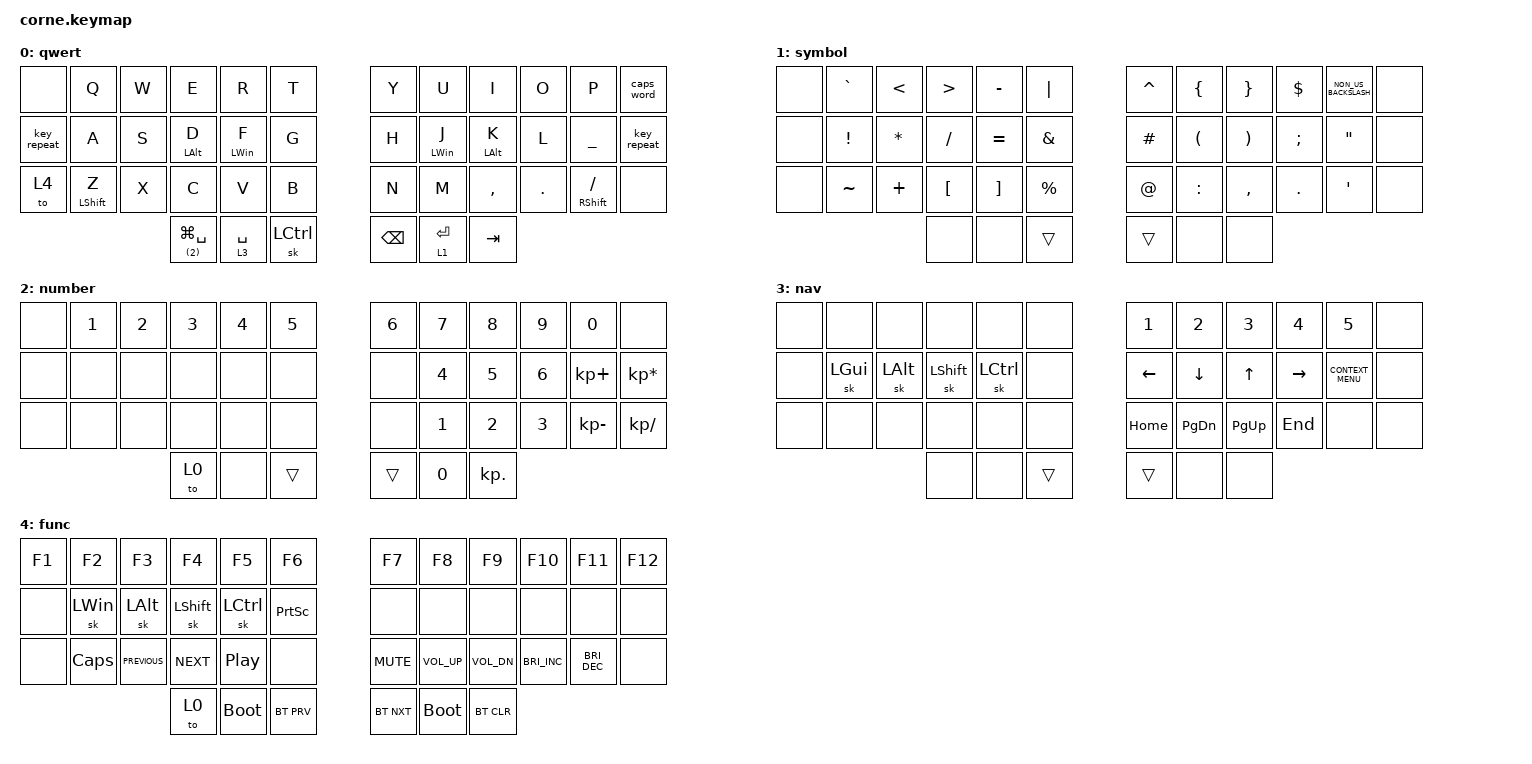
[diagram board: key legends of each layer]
/*
 * Copyright (c) 2020 The ZMK Contributors
 *
 * SPDX-License-Identifier: MIT
 */

#include <behaviors.dtsi>
#include <dt-bindings/zmk/bt.h>
#include <dt-bindings/zmk/keys.h>

&mt { flavor = "tap-preferred"; };

/ {
    combos {
        compatible = "zmk,combos";

        combo_esc {
            bindings = <&kp ESCAPE>;
            key-positions = <26 27>;
        };

        combo_ent {
            bindings = <&kp ENTER>;
            key-positions = <32 33>;
        };

        to_l1 {
            bindings = <&to 0>;
            key-positions = <29 30>;
        };
    };

    behaviors {
        hm: homerow_mods {
            compatible = "zmk,behavior-hold-tap";
            label = "HOMEROW_MODS";
            bindings = <&kp>, <&kp>;

            #binding-cells = <2>;
            tapping-term-ms = <200>;
            quick-tap-ms = <0>;
            flavor = "tap-preferred";
        };

        hs: homerow_shifts {
            compatible = "zmk,behavior-hold-tap";
            label = "HOMEROW_SHIFTS";
            bindings = <&kp>, <&kp>;

            #binding-cells = <2>;
            tapping-term-ms = <150>;
            quick-tap-ms = <0>;
            flavor = "balanced";
        };
    };

    keymap {
        compatible = "zmk,keymap";

        qwerty_layer {
            // -----------------------------------------------------------------------------------------
            // |  TAB |  Q  |  W  |  E  |  R  |  T  |   |  Y  |  U   |  I  |  O  |  P  | BKSP |
            // | CTRL |  A  |  S  |  D  |  F  |  G  |   |  H  |  J   |  K  |  L  |  ;  |  '   |
            // | SHFT |  Z  |  X  |  C  |  V  |  B  |   |  N  |  M   |  ,  |  .  |  /  | ESC  |
            //                    | GUI | LWR | SPC |   | ENT | RSE  | ALT |

            display-name = "qwert";
            bindings = <
&none        &kp Q             &kp W  &kp E              &kp R           &kp T        &kp Y          &kp U           &kp I           &kp O    &kp P                  &caps_word
&key_repeat  &kp A             &kp S  &hm LEFT_ALT D     &hm LEFT_WIN F  &kp G        &kp H          &hm LEFT_WIN J  &hm LEFT_ALT K  &kp L    &kp UNDER              &key_repeat
&to 4        &hs LEFT_SHIFT Z  &kp X  &kp C              &kp V           &kp B        &kp N          &kp M           &kp COMMA       &kp DOT  &hs RIGHT_SHIFT SLASH  &none
                                      &lt (2) LG(SPACE)  &lt 3 SPACE     &sk LCTRL    &kp BACKSPACE  &lt 1 ENTER     &kp TAB
            >;

            label = "base";
        };

        symbol_layer {
            bindings = <
&none  &kp GRAVE        &kp LESS_THAN  &kp GREATER_THAN  &kp MINUS          &kp PIPE         &kp CARET    &kp LEFT_BRACE        &kp RIGHT_BRACE        &kp DOLLAR     &kp NON_US_BACKSLASH  &none
&none  &kp EXCLAMATION  &kp ASTERISK   &kp SLASH         &kp EQUAL          &kp AMPERSAND    &kp HASH     &kp LEFT_PARENTHESIS  &kp RIGHT_PARENTHESIS  &kp SEMICOLON  &kp DOUBLE_QUOTES     &none
&none  &kp TILDE        &kp PLUS       &kp LEFT_BRACKET  &kp RIGHT_BRACKET  &kp PERCENT      &kp AT_SIGN  &kp COLON             &kp COMMA              &kp PERIOD     &kp SQT               &none
                                       &none             &none              &trans           &trans       &none                 &none
            >;

            label = "symbol";
        };

        number_layer {
            bindings = <
&none  &kp N1  &kp N2  &kp N3  &kp N4  &kp N5    &kp N6  &kp N7  &kp N8      &kp N9  &kp N0        &none
&none  &none   &none   &none   &none   &none     &none   &kp N4  &kp N5      &kp N6  &kp KP_PLUS   &kp KP_MULTIPLY
&none  &none   &none   &none   &none   &none     &none   &kp N1  &kp N2      &kp N3  &kp KP_MINUS  &kp KP_DIVIDE
                       &to 0   &none   &trans    &trans  &kp N0  &kp KP_DOT
            >;

            label = "number";
        };

        navigation_layer {
            bindings = <
&none  &none     &none     &none      &none      &none     &kp NUMBER_1  &kp NUMBER_2   &kp NUMBER_3  &kp NUMBER_4  &kp NUMBER_5        &none
&none  &sk LGUI  &sk LALT  &sk LSHFT  &sk LCTRL  &none     &kp LEFT      &kp DOWN       &kp UP        &kp RIGHT     &kp K_CONTEXT_MENU  &none
&none  &none     &none     &none      &none      &none     &kp HOME      &kp PAGE_DOWN  &kp PG_UP     &kp END       &none               &none
                           &none      &none      &trans    &trans        &none          &none
            >;

            label = "nav";
        };

        fucntion_layer {
            bindings = <
&kp F1  &kp F2        &kp F3          &kp F4      &kp F5            &kp F6             &kp F7      &kp F8           &kp F9        &kp F10               &kp F11               &kp F12
&none   &sk LEFT_WIN  &sk LALT        &sk LSHFT   &sk LCTRL         &kp PRINTSCREEN    &none       &none            &none         &none                 &none                 &none
&none   &kp CLCK      &kp C_PREVIOUS  &kp C_NEXT  &kp C_PLAY_PAUSE  &none              &kp K_MUTE  &kp C_VOLUME_UP  &kp C_VOL_DN  &kp C_BRIGHTNESS_INC  &kp C_BRIGHTNESS_DEC  &none
                                      &to 0       &bootloader       &bt BT_PRV         &bt BT_NXT  &bootloader      &bt BT_CLR
            >;

            label = "func";
        };
    };

    conditional_layers { compatible = "zmk,conditional-layers"; };
};
